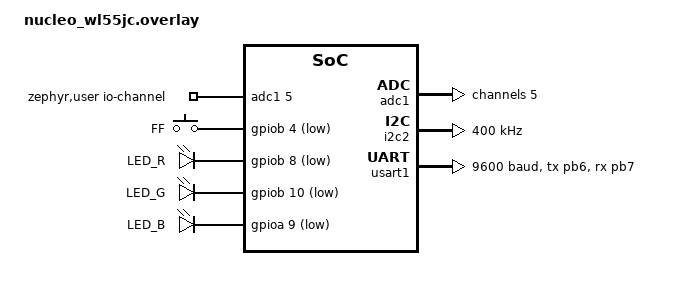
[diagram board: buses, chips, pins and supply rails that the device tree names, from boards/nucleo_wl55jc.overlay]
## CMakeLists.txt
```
# SPDX-License-Identifier: Apache-2.0

cmake_minimum_required(VERSION 3.20.0)
find_package(Zephyr REQUIRED HINTS $ENV{ZEPHYR_BASE})
project(lorawan_etsist)

target_sources(app PRIVATE 
    src/main.c
    src/rgbChange.c
    measures/temperature.c
    measures/gps.c
    measures/distance.c
    )
```

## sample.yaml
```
sample:
  name: STM32 GPIO Power Management
tests:
  sample.boards.stm32.power_mgmt.blinky:
    tags:
      - LED
      - power
    harness: console
    harness_config:
      type: one_line
      regex:
        - "Device ready"
    filter: dt_compat_enabled("zephyr,power-state") and
            dt_enabled_alias_with_parent_compat("led0", "gpio-leds") and
            (dt_compat_enabled("st,stm32-lptim") or
            dt_chosen_enabled("zephyr,cortex-m-idle-timer"))
    extra_args: "CONFIG_DEBUG=y"
    integration_platforms:
      - nucleo_wb55rg
      - nucleo_f429zi
```

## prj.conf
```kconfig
# General system configuration
CONFIG_MAIN_STACK_SIZE=2048
CONFIG_SYSTEM_WORKQUEUE_STACK_SIZE=2048
CONFIG_ASSERT=y
CONFIG_THREAD_NAME=y

# Logging and debugging
CONFIG_LOG=y
CONFIG_LOG_DEFAULT_LEVEL=3
CONFIG_STDOUT_CONSOLE=y
CONFIG_CBPRINTF_FP_SUPPORT=y

# Device drivers
CONFIG_GPIO=y
CONFIG_ADC=y
CONFIG_I2C=y
CONFIG_SENSOR=y
CONFIG_FLASH=y
CONFIG_FLASH_MAP=y
CONFIG_FLASH_PAGE_LAYOUT=y
CONFIG_STREAM_FLASH=y
CONFIG_IMG_MANAGER=y

# UART configuration
CONFIG_SERIAL=y
CONFIG_UART_ASYNC_API=y
CONFIG_UART_INTERRUPT_DRIVEN=y

# LoRa and LoRaWAN configuration
CONFIG_LORA=y
CONFIG_LORAWAN=y
CONFIG_LORAMAC_REGION_EU868=y
CONFIG_LORAWAN_NVM_SETTINGS=y  # Use NVM to store OTAA parameters
CONFIG_ENTROPY_GENERATOR=y  # Entropy source

# Non-volatile storage (NVS)
CONFIG_NVS=y
CONFIG_SETTINGS=y  # Required to store LoRaWAN DevNonce and other settings

# Zephyr Bus configuration
CONFIG_ZBUS=y
CONFIG_ZBUS_CHANNEL_NAME=y
```

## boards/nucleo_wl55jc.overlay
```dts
/*
 * SPDX-License-Identifier: Apache-2.0
 * Copyright (c) 2022 QRTECH
 */

/ {
	zephyr,user {
		io-channels = <&adc1 5>;
	};

	gpio_keys: gpio_keys {
		compatible = "gpio-keys";

		accel_interrupt: accel_interrupt {
			label = "FF";
			gpios = <&gpiob 4 (GPIO_ACTIVE_LOW | GPIO_PULL_UP)>;
			zephyr,code = <INPUT_KEY_3>;
		};
	};

	leds {
		compatible = "gpio-leds";

		/* RED: CN9.D5 = PB8 */
		led_r: led_r {
			gpios = <&gpiob 8 GPIO_ACTIVE_LOW>;
			label = "LED_R";
		};

		/* GREEN: CN9.D6 = PB10 */
		led_g: led_g {
			gpios = <&gpiob 10 GPIO_ACTIVE_LOW>;
			label = "LED_G";
		};

		/* BLUE: CN5.D9 = PA9 */
		led_b: led_b {
			gpios = <&gpioa 9 GPIO_ACTIVE_LOW>;
			label = "LED_B";
		};
	};

	aliases {
		ff0  = &accel_interrupt;

		ledr = &led_r;
		ledg = &led_g;
		ledb = &led_b;
	};
};

&adc1 {
	#address-cells = <1>;
	#size-cells = <0>;

	channel@5 {
		reg = <5>;
		zephyr,gain = "ADC_GAIN_1";
		zephyr,reference = "ADC_REF_INTERNAL";
		zephyr,acquisition-time = <ADC_ACQ_TIME_DEFAULT>;
		zephyr,resolution = <12>;
	};
};

&i2c2 {
	status = "okay";
	clock-frequency = <I2C_BITRATE_FAST>; /* 400 kHz */

	/* You likely need pinctrl here, example (MUST match your board symbols):
	pinctrl-0 = <&i2c2_scl_xx &i2c2_sda_xx>;
	pinctrl-names = "default";
	*/
};

&usart1 {
	dmas = <&dmamux1 11 18 (STM32_DMA_PERIPH_TX | STM32_DMA_PRIORITY_HIGH)
		&dmamux1  1 17 (STM32_DMA_PERIPH_RX | STM32_DMA_PRIORITY_HIGH)>;
	dma-names = "tx", "rx";
	pinctrl-0 = <&usart1_tx_pb6 &usart1_rx_pb7>;
	pinctrl-names = "default";
	current-speed = <9600>;
	status = "okay";
};

&dma1 { status = "okay"; };
&dma2 { status = "okay"; };
&dmamux1 { status = "okay"; };

&gpiob { status = "okay"; };
&gpioa { status = "okay"; };
```

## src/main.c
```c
#include "connector.h"

// ===================   COMMUNICATION   ===================

const struct device *i2c = DEVICE_DT_GET(DT_NODELABEL(i2c2));;
const struct device *uart;
const struct device *adc;
const struct device *port;
struct measDataQueue gpsMsg;

// =================== COMMUNICATION END ===================

    // ===================   SENSOR VALUES   ===================

float axisX;
float axisY;
float axisZ;
float lightValue;
uint16_t clear;
uint16_t red;
uint16_t blue;
uint16_t green;
float soilValue;
float tempValue;
float humValue;
int16_t soilRawVal;
int16_t brightnessRawVal;
uint32_t distanceVal;

    // =================== SENSOR VALUES END ===================

const struct gpio_dt_spec led_r = GPIO_DT_SPEC_GET(DT_ALIAS(ledr), gpios);
const struct gpio_dt_spec led_g = GPIO_DT_SPEC_GET(DT_ALIAS(ledg), gpios);

	/* Customize based on network configuration */
#define LORAWAN_DEV_EUI			{ 0x79, 0x39, 0x32, 0x35, 0x59, 0x37, 0x91, 0x94 } // Use your own DEV_EUI
#define LORAWAN_JOIN_EUI		{ 0x70, 0xB3, 0xD5, 0x7E, 0xD0, 0x00, 0xFC, 0x4D }
#define LORAWAN_APP_KEY			{ 0xf3, 0x1c, 0x2e, 0x8b, 0xc6, 0x71, 0x28, 0x1d, 0x51, 0x16, 0xf0, 0x8f, 0xf0, 0xb7, 0x92, 0x8f }

#define DELAY K_MSEC(10000)  /* 30 seconds */
#define MAX_PAYLOAD_SIZE   30
#define NUM_MAX_RETRIES    30

#define LOG_LEVEL CONFIG_LOG_DEFAULT_LEVEL
LOG_MODULE_REGISTER(lorawan_class_a);

static void dl_callback(uint8_t port, uint8_t flags, int16_t rssi, int8_t snr,
                        uint8_t len, const uint8_t *hex_data)
{
    LOG_INF("DL port=%u, len=%u", port, len);

    if (!hex_data || len == 0) {
        return;
    }

    LOG_HEXDUMP_INF(hex_data, len, "DL payload:");

    /* Convert to C-string (uppercased), safe */
    char cmd[16];
    size_t n = (len < (sizeof(cmd) - 1)) ? len : (sizeof(cmd) - 1);

    for (size_t i = 0; i < n; i++) {
        char c = (char)hex_data[i];
        cmd[i] = (char)toupper((unsigned char)c);
    }
    cmd[n] = '\0';

    /* Trim possible trailing \r \n \0 spaces */
    while (n > 0 && (cmd[n-1] == '\r' || cmd[n-1] == '\n' || cmd[n-1] == ' ' || cmd[n-1] == '\0')) {
        cmd[n-1] = '\0';
        n--;
    }

    if (strcmp(cmd, "OFF") == 0) {
        rgbChange(0);
    } else if (strcmp(cmd, "RED") == 0) {
        rgbChange(1);
    } else if (strcmp(cmd, "GREEN") == 0) {
        rgbChange(2);
    } else {
        LOG_WRN("Unknown cmd: '%s'", cmd);
    }
}


static void lorwan_datarate_changed(enum lorawan_datarate dr)
{
	uint8_t unused, max_size;

	lorawan_get_payload_sizes(&unused, &max_size);
	LOG_INF("New Datarate: DR_%d, Max Payload %d", dr, max_size);
}


static inline void put_le16(uint8_t *buf, int idx, uint16_t v)
{
    buf[idx]     = (uint8_t)(v & 0xFF);
    buf[idx + 1] = (uint8_t)(v >> 8);
}

static inline void put_le32(uint8_t *buf, int idx, uint32_t v)
{
    buf[idx]     = (uint8_t)(v & 0xFF);
    buf[idx + 1] = (uint8_t)((v >> 8) & 0xFF);
    buf[idx + 2] = (uint8_t)((v >> 16) & 0xFF);
    buf[idx + 3] = (uint8_t)((v >> 24) & 0xFF);
}

static int distance_init(void)
{
	port = DEVICE_DT_GET(DT_NODELABEL(gpioa));
	if (!device_is_ready(port)) {
		LOG_ERR("GPIOA not ready");
		return -ENODEV;
	}

	if (gpio_pin_configure(port, 5, GPIO_OUTPUT_INACTIVE)) {
		LOG_ERR("Cannot configure TRIG");
		return -EIO;
	}

	if (gpio_pin_configure(port, 6, GPIO_INPUT)) {
		LOG_ERR("Cannot configure ECHO");
		return -EIO;
	}

	return 0;
}

int main(void)
{

	const struct device *lora_dev;
	struct lorawan_join_config join_cfg;
	uint8_t dev_eui[] = LORAWAN_DEV_EUI;
	uint8_t join_eui[] = LORAWAN_JOIN_EUI;
	uint8_t app_key[] = LORAWAN_APP_KEY;
	int ret;
	uint8_t joining_retries = 0 ;
	
	struct lorawan_downlink_cb downlink_cb = {
		.port = LW_RECV_PORT_ANY,
		.cb = dl_callback
	};

	lora_dev = DEVICE_DT_GET(DT_ALIAS(lora0));
	if (!device_is_ready(lora_dev)) {
		LOG_ERR("%s: device not ready.", lora_dev->name);
		return 0;
	}

	if (!gpio_is_ready_dt(&led_r) || !gpio_is_ready_dt(&led_g)) {
		LOG_ERR("LED GPIOs not ready");
		return 0;
	}

	ret = gpio_pin_configure_dt(&led_r, GPIO_OUTPUT_INACTIVE);
	if (ret < 0) {
		LOG_ERR("LED R init failed: %d", ret);
		return 0;
	}

	ret = gpio_pin_configure_dt(&led_g, GPIO_OUTPUT_INACTIVE);
	if (ret < 0) {
		LOG_ERR("LED G init failed: %d", ret);
		return 0;
	}

	uart = DEVICE_DT_GET(DT_NODELABEL(usart1));
	if (!device_is_ready(uart)) {
		LOG_ERR("UART not ready");
	}
	gps_init();
	if (distance_init() != 0) {
		return 0;
	}

#if defined(CONFIG_LORAMAC_REGION_EU868)

	ret = lorawan_set_region(LORAWAN_REGION_EU868);
	if (ret < 0) {
		LOG_ERR("lorawan_set_region failed: %d", ret);
		return 0;
	}
#endif

	ret = lorawan_start();
	if (ret < 0) {
		LOG_ERR("lorawan_start failed: %d", ret);
		return 0;
	}
	
	lorawan_enable_adr(false);

	lorawan_register_downlink_callback(&downlink_cb);
	lorawan_register_dr_changed_callback(lorwan_datarate_changed);

	join_cfg.mode = LORAWAN_ACT_OTAA;
	join_cfg.dev_eui = dev_eui;
	join_cfg.otaa.join_eui = join_eui;
	join_cfg.otaa.app_key = app_key;
	join_cfg.otaa.nwk_key = app_key;
	
	printf("\r\n DEV_EUI: ");
    for (int i = 0; i < sizeof(dev_eui); ++i) printf("%02x", dev_eui[i]);
    printf("\r\n APP_EUI: ");
    for (int i = 0; i < sizeof(join_eui); ++i) printf("%02x", join_eui[i]);
    printf("\r\n APP_KEY: ");
    for (int i = 0; i < sizeof(app_key); ++i) printf("%02x", app_key[i]);
    printf("\r\n");

	LOG_INF("Waiting 10 seconds to join...");
	k_sleep(K_SECONDS(10));  // Wait 30 seconds


	LOG_INF("Joining network over OTAA");

	
	while ((ret = lorawan_join(&join_cfg)) < 0) {
		joining_retries++;
		if (joining_retries > NUM_MAX_RETRIES){
			LOG_ERR("Number max of retries (%d/%d) reached, finishing program", joining_retries, NUM_MAX_RETRIES);
			return 0;
		}
		LOG_ERR("Join failed (%d), retrying in 30 seconds, try #%d...", ret, joining_retries);
		k_sleep(K_SECONDS(30));
	}
		
	LOG_INF("Starting to send data...");
	
	static uint16_t counter = 0;		
	uint8_t data[MAX_PAYLOAD_SIZE];
	int16_t temp = 0;
	int16_t hum = 0;
	uint8_t len = 0;
	while (1) {
		temp = 0;
		hum = 0;
		len = 0;
		int32_t lat_e6 = 0;
		int32_t lon_e6 = 0;
		bool gps_ok = false;
		bool gps_real = false;
		temperatureMeasure();
		distanceMeasure();
		temp = (int16_t)lroundf(tempValue * 10.0f);
		hum = (int16_t)lroundf(humValue * 10.0f);
		gps_ok = gps_get_latlon(&lat_e6, &lon_e6);
		gps_real = gps_is_real();
		put_le16(data, len, (uint16_t)counter); len +=2;
		put_le16(data, len, (uint16_t)temp); len += 2;
		put_le16(data, len, (uint16_t)hum); len += 2;
		if (len + 1 <= MAX_PAYLOAD_SIZE) {
			data[len++] = (uint8_t)distanceVal;
		}
		if (len + 9 <= MAX_PAYLOAD_SIZE) {
			data[len++] = gps_ok ? 1 : 0;
			put_le32(data, len, (uint32_t)lat_e6); len += 4;
			put_le32(data, len, (uint32_t)lon_e6); len += 4;
		}
		ret = lorawan_send(1, data, len, LORAWAN_MSG_UNCONFIRMED);

		if (ret == -EAGAIN) {
			LOG_ERR("lorawan_send failed: %d. Continuing...", ret);
			k_sleep(DELAY);
			continue;
		}

		if (ret < 0) {
			LOG_ERR("lorawan_send failed: %d", ret);
			return 0;
		}

		LOG_INF("Data sent!! (data counting #%04d)", counter);
		counter = (counter < 255) ? counter + 1 : 0;
		printk("temp - %.1f%%, hum - %.1f%%, distance - %ucm, gps - %s\n",
		       tempValue, humValue, distanceVal, gps_real ? "REAL" : "FAKE");
		k_sleep(DELAY);

	}
}
```

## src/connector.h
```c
#include <zephyr/device.h>
#include <zephyr/logging/log.h>
#include <zephyr/lorawan/lorawan.h>
#include <zephyr/kernel.h>
#include <zephyr/random/random.h>
#include <zephyr/drivers/i2c.h>
#include <zephyr/drivers/gpio.h>
#include <zephyr/drivers/uart.h>
#include <zephyr/drivers/adc.h>
#include <math.h>
#include <ctype.h>
#include <stdlib.h>
#include <string.h>
#include <stdint.h>
#include <stdbool.h>


#define rgbAddr 0x29  
#define accAddr 0x1D
#define tempAndHumidAddr 0x40
#define adcRes 12
#define soilAdcChannel 0
#define brightAdcChannel 5 

struct measDataQueue {
    char gpsQ[128];
};
extern struct measDataQueue gpsMsg;
//extern const struct device *adc;
extern const struct device *i2c;
extern const struct device *uart;
extern const struct device *port;

void rgbChange(int);
void rgbMeasure(void);
void accelerometerMeasure(void);
void temperatureMeasure(void);
void gpsMeasure(void);
void gps_init(void);
bool gps_get_latlon(int32_t *lat_e6, int32_t *lon_e6);
bool gps_is_real(void);
void distanceMeasure(void);
void soilMeasure(void);
void brightnessMeasure(void);
void gpsToHuman(int main);


extern float axisX;
extern float axisY;
extern float axisZ;
extern float lightValue;
extern uint16_t clear;
extern uint16_t red;
extern uint16_t green;
extern uint16_t blue;
extern float soilValue;
extern float tempValue;
extern float humValue;
extern uint32_t distanceVal;
extern uint32_t distanceVal;

extern const struct gpio_dt_spec led_r;
extern const struct gpio_dt_spec led_g;
```

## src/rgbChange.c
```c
#include "connector.h"

void rgbChange (int color) {
    
    gpio_pin_set_dt(&led_r, 0);
    gpio_pin_set_dt(&led_g, 0);
    switch (color) {
    case 1: gpio_pin_set_dt(&led_r, 1); break;
    case 2: gpio_pin_set_dt(&led_g, 1); break;
    case 0:
    default:
        break;
    }
}
```
